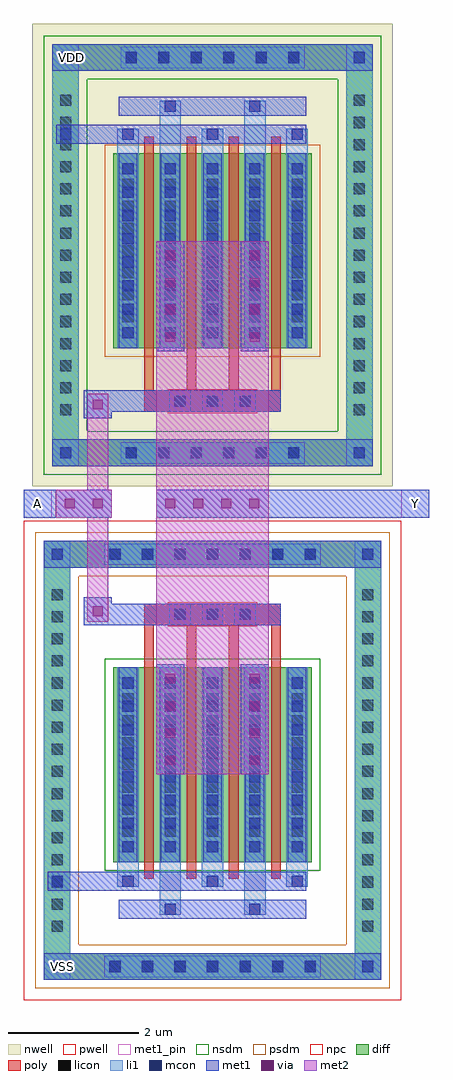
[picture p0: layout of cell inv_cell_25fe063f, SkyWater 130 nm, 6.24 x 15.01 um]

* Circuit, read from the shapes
.subckt inv_cell_25fe063f A VDD VSS Y
XM1 Y A VSS VSUBS sky130_fd_pr__nfet_01v8 w=3 l=0.15 m=4
XM2 Y A VDD n1 sky130_fd_pr__pfet_01v8 w=3 l=0.15 m=4
.ends

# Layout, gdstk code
import gdstk
lib = gdstk.Library(unit=1e-6, precision=5e-09)
def R(c, l, rs):  # rectangles x0, y0, x1, y1
    for r in rs: c.add(gdstk.rectangle(r[:2], r[2:], *l))
def A(c, l, x, y, w, h, nx, ny, dx, dy):  # array of equal rectangles
    R(c, l, [(x+i*dx, y+j*dy, x+i*dx+w, y+j*dy+h) for i in range(nx) for j in range(ny)])
def P(c, l, *ps):  # polygons
    for p in ps: c.add(gdstk.Polygon(p, *l))
nwell = (64, 20)
pwell = (64, 44)
diff = (65, 20)
poly = (66, 20)
licon = (66, 44)
li1 = (67, 20)
mcon = (67, 44)
met1_pin = (68, 16)
met1 = (68, 20)
via = (68, 44)
met2 = (69, 20)
nsdm = (93, 44)
psdm = (94, 20)
npc = (95, 20)

inv_cell_25fe063f = lib.new_cell('inv_cell_25fe063f')
R(inv_cell_25fe063f, nwell, [(-2.775,4.215,2.775,11.325)])
R(inv_cell_25fe063f, pwell, [(-2.905,-3.685,2.905,3.685)])
A(inv_cell_25fe063f, diff, -1.705, -3.375, 0.41, 0.41, 7, 2, 0.5, 6.34)
A(inv_cell_25fe063f, diff, -2.595, -2.755, 0.41, 0.41, 1, 16, 0, 0.34)
A(inv_cell_25fe063f, diff, 2.185, -2.755, 0.41, 0.41, 1, 16, 0, 0.34)
A(inv_cell_25fe063f, diff, -1.455, 4.525, 0.41, 0.41, 6, 2, 0.5, 6.08)
A(inv_cell_25fe063f, diff, -2.465, 5.185, 0.41, 0.41, 1, 15, 0, 0.34)
A(inv_cell_25fe063f, diff, 2.055, 5.185, 0.41, 0.41, 1, 15, 0, 0.34)
R(inv_cell_25fe063f, diff, [(-1.705,-3.375,1.705,-2.965), (-2.595,-2.755,-2.185,2.755), (2.185,-2.755,2.595,2.755), (-1.525,-1.57,1.525,1.43), (-1.705,2.965,1.705,3.375), (-1.455,4.525,1.455,4.935), (-2.465,5.185,-2.055,10.355), (2.055,5.185,2.465,10.355), (-1.525,6.34,1.525,9.34), (-1.455,10.605,1.455,11.015)])
P(inv_cell_25fe063f, diff, [(2.465,11.015),(-2.465,11.015),(-2.465,4.935),(-2.055,4.935),(-2.055,10.605),(2.055,10.605),(2.055,4.935),(-2.055,4.935),(-2.465,4.935),(-2.465,4.525),(2.465,4.525)],
  [(2.595,-3.375),(-2.595,-3.375),(-2.595,2.965),(-2.185,2.965),(-2.185,-2.965),(2.185,-2.965),(2.185,2.965),(-2.185,2.965),(-2.595,2.965),(-2.595,3.375),(2.595,3.375)])
A(inv_cell_25fe063f, poly, -1.05, -1.82, 0.15, 3.5, 4, 2, 0.65, 7.91)
A(inv_cell_25fe063f, poly, -1.05, 1.68, 0.15, 0.4, 4, 2, 0.65, 4.01)
A(inv_cell_25fe063f, poly, -0.665, 2.08, 0.33, 0.33, 3, 2, 0.5, 3.28)
R(inv_cell_25fe063f, poly, [(-1.05,2.08,1.05,2.41), (-1.05,5.36,1.05,5.69)])
A(inv_cell_25fe063f, licon, -1.585, -3.255, 0.17, 0.17, 7, 2, 0.5, 6.34)
A(inv_cell_25fe063f, licon, -2.475, -2.635, 0.17, 0.17, 1, 16, 0, 0.34)
A(inv_cell_25fe063f, licon, 2.305, -2.635, 0.17, 0.17, 1, 16, 0, 0.34)
A(inv_cell_25fe063f, licon, -1.385, -1.175, 0.17, 0.17, 5, 7, 0.65, 0.34)
A(inv_cell_25fe063f, licon, -0.585, 2.16, 0.17, 0.17, 3, 2, 0.5, 3.28)
A(inv_cell_25fe063f, licon, -1.335, 4.645, 0.17, 0.17, 6, 2, 0.5, 6.08)
A(inv_cell_25fe063f, licon, -2.345, 5.305, 0.17, 0.17, 1, 15, 0, 0.34)
A(inv_cell_25fe063f, licon, 2.175, 5.305, 0.17, 0.17, 1, 15, 0, 0.34)
A(inv_cell_25fe063f, licon, -1.385, 6.735, 0.17, 0.17, 5, 7, 0.65, 0.34)
A(inv_cell_25fe063f, li1, -1.665, -3.335, 0.33, 0.33, 7, 2, 0.5, 6.34)
A(inv_cell_25fe063f, li1, -2.555, -2.715, 0.33, 0.33, 1, 16, 0, 0.34)
A(inv_cell_25fe063f, li1, 2.225, -2.715, 0.33, 0.33, 1, 16, 0, 0.34)
A(inv_cell_25fe063f, li1, -1.465, -1.945, 0.33, 0.375, 3, 2, 1.3, 11.285)
A(inv_cell_25fe063f, li1, -1.385, -1.945, 0.17, 0.17, 3, 2, 1.3, 11.49)
A(inv_cell_25fe063f, li1, -1.465, -1.57, 0.33, 3, 5, 2, 0.65, 7.91)
A(inv_cell_25fe063f, li1, -1.385, -1.415, 0.17, 0.17, 5, 8, 0.65, 0.36)
A(inv_cell_25fe063f, li1, -1.385, -1.415, 0.17, 2.69, 5, 2, 0.65, 7.91)
A(inv_cell_25fe063f, li1, -1.465, -1.255, 0.33, 0.33, 5, 7, 0.65, 0.34)
A(inv_cell_25fe063f, li1, -0.665, 2.08, 0.33, 0.33, 3, 2, 0.5, 3.28)
A(inv_cell_25fe063f, li1, -1.415, 4.565, 0.33, 0.33, 6, 2, 0.5, 6.08)
A(inv_cell_25fe063f, li1, -2.425, 5.225, 0.33, 0.33, 1, 15, 0, 0.34)
A(inv_cell_25fe063f, li1, 2.095, 5.225, 0.33, 0.33, 1, 15, 0, 0.34)
A(inv_cell_25fe063f, li1, -1.385, 6.495, 0.17, 0.17, 5, 8, 0.65, 0.36)
A(inv_cell_25fe063f, li1, -1.465, 6.655, 0.33, 0.33, 5, 7, 0.65, 0.34)
R(inv_cell_25fe063f, li1, [(-2.595,-3.375,-2.185,-2.965), (2.185,-3.375,2.595,-2.965), (-1.665,-3.335,1.665,-3.005), (-2.475,-3.255,-2.305,-3.085), (-2.475,-3.255,-2.305,-3.085), (2.305,-3.255,2.475,-3.085), (2.305,-3.255,2.475,-3.085), (-2.595,-2.965,-2.185,2.965), (2.185,-2.965,2.595,2.965), (-0.815,-2.375,-0.485,-1.57), (-0.735,-2.375,-0.565,-2.205), (0.485,-2.375,0.815,-1.57), (0.565,-2.375,0.735,-2.205), (-2.475,-1.945,-2.305,-1.775), (-2.595,2.965,-2.185,3.375), (2.185,2.965,2.595,3.375), (-1.665,3.005,1.665,3.335), (-2.475,3.085,-2.305,3.255), (-2.475,3.085,-2.305,3.255), (2.305,3.085,2.475,3.255), (2.305,3.085,2.475,3.255), (-2.465,4.525,-2.055,4.935), (2.055,4.525,2.465,4.935), (-1.415,4.565,1.415,4.895), (-2.345,4.645,-2.175,4.815), (-2.345,4.645,-2.175,4.815), (2.175,4.645,2.345,4.815), (2.175,4.645,2.345,4.815), (-2.465,4.935,-2.055,10.605), (2.055,4.935,2.465,10.605), (-0.815,9.34,-0.485,10.145), (0.485,9.34,0.815,10.145), (-2.345,9.545,-2.175,9.715), (-0.735,9.975,-0.565,10.145), (0.565,9.975,0.735,10.145), (-2.465,10.605,-2.055,11.015), (2.055,10.605,2.465,11.015), (-1.415,10.645,1.415,10.975), (-2.345,10.725,-2.175,10.895), (-2.345,10.725,-2.175,10.895), (2.175,10.725,2.345,10.895), (2.175,10.725,2.345,10.895)])
A(inv_cell_25fe063f, mcon, -1.585, -3.255, 0.17, 0.17, 7, 2, 0.5, 6.34)
A(inv_cell_25fe063f, mcon, -1.385, -1.945, 0.17, 0.17, 3, 2, 1.3, 11.49)
A(inv_cell_25fe063f, mcon, -1.385, -1.415, 0.17, 0.17, 5, 8, 0.65, 0.36)
A(inv_cell_25fe063f, mcon, -0.585, 2.16, 0.17, 0.17, 3, 2, 0.5, 3.28)
A(inv_cell_25fe063f, mcon, -1.335, 4.645, 0.17, 0.17, 6, 2, 0.5, 6.08)
A(inv_cell_25fe063f, mcon, -1.385, 6.495, 0.17, 0.17, 5, 8, 0.65, 0.36)
R(inv_cell_25fe063f, mcon, [(-2.475,-3.255,-2.305,-3.085), (2.305,-3.255,2.475,-3.085), (-0.735,-2.375,-0.565,-2.205), (0.565,-2.375,0.735,-2.205), (-2.475,-1.945,-2.305,-1.775), (-2.475,3.085,-2.305,3.255), (2.305,3.085,2.475,3.255), (-2.345,4.645,-2.175,4.815), (2.175,4.645,2.345,4.815), (-2.345,9.545,-2.175,9.715), (-0.735,9.975,-0.565,10.145), (0.565,9.975,0.735,10.145), (-2.345,10.725,-2.175,10.895), (2.175,10.725,2.345,10.895)])
R(inv_cell_25fe063f, met1_pin, [(-2.425,-3.29,-2.185,-3.05), (-2.905,3.735,-2.475,4.165), (2.905,3.735,3.335,4.165), (-2.295,10.69,-2.055,10.93)])
A(inv_cell_25fe063f, met1, -1.645, -3.315, 0.29, 0.29, 7, 2, 0.5, 6.34)
A(inv_cell_25fe063f, met1, -1.445, -2.005, 0.29, 0.29, 3, 2, 1.3, 11.49)
A(inv_cell_25fe063f, met1, -1.445, -1.57, 0.29, 3, 5, 2, 0.65, 7.91)
A(inv_cell_25fe063f, met1, -1.445, -1.475, 0.29, 0.29, 5, 8, 0.65, 0.36)
A(inv_cell_25fe063f, met1, -0.645, 2.1, 0.29, 0.29, 3, 2, 0.5, 3.28)
A(inv_cell_25fe063f, met1, -1.395, 4.585, 0.29, 0.29, 6, 2, 0.5, 6.08)
A(inv_cell_25fe063f, met1, -1.445, 6.435, 0.29, 0.29, 5, 8, 0.65, 0.36)
R(inv_cell_25fe063f, met1, [(-2.595,-3.375,-2.185,-2.965), (-2.595,-3.375,-2.185,-2.965), (-2.185,-3.375,2.185,-2.965), (2.185,-3.375,2.595,-2.965), (2.185,-3.375,2.595,-2.965), (-2.535,-3.315,-2.245,-3.025), (2.245,-3.315,2.535,-3.025), (-1.445,-2.435,1.445,-2.145), (-0.795,-2.435,-0.505,-2.145), (0.505,-2.435,0.795,-2.145), (-2.535,-2.005,-2.245,-1.715), (-2.39,-2.005,-1.445,-1.715), (-1.445,-2.005,1.445,-1.715), (-0.865,-0.215,-0.435,0.215), (-0.865,-0.215,-0.435,0.215), (0.435,-0.215,0.865,0.215), (0.435,-0.215,0.865,0.215), (-0.865,0.205,-0.435,0.635), (-0.865,0.205,-0.435,0.635), (0.435,0.205,0.865,0.635), (0.435,0.205,0.865,0.635), (-0.865,0.625,-0.435,1.055), (-0.865,0.625,-0.435,1.055), (0.435,0.625,0.865,1.055), (0.435,0.625,0.865,1.055), (-0.865,1.045,-0.435,1.475), (-0.865,1.045,-0.435,1.475), (0.435,1.045,0.865,1.475), (0.435,1.045,0.865,1.475), (-1.98,2.08,-1.55,2.51), (-1.98,2.08,-1.05,2.41), (-1.05,2.08,1.05,2.41), (-2.595,2.965,-2.185,3.375), (-2.595,2.965,-2.185,3.375), (-2.185,2.965,2.185,3.375), (2.185,2.965,2.595,3.375), (2.185,2.965,2.595,3.375), (-2.535,3.025,-2.245,3.315), (2.245,3.025,2.535,3.315), (-2.905,3.735,-1.98,4.165), (-2.41,3.735,-1.98,4.165), (-2.41,3.735,-1.98,4.165), (-1.98,3.735,-1.55,4.165), (-1.98,3.735,-1.55,4.165), (-0.865,3.735,-0.435,4.165), (-0.865,3.735,-0.435,4.165), (-0.865,3.735,3.335,4.165), (-0.435,3.735,-0.005,4.165), (-0.435,3.735,-0.005,4.165), (-0.005,3.735,0.425,4.165), (-0.005,3.735,0.425,4.165), (0.425,3.735,0.855,4.165), (0.425,3.735,0.855,4.165), (-2.465,4.525,-2.055,4.935), (-2.465,4.525,-2.055,4.935), (-2.055,4.525,2.055,4.935), (2.055,4.525,2.465,4.935), (2.055,4.525,2.465,4.935), (-2.405,4.585,-2.115,4.875), (2.115,4.585,2.405,4.875), (-1.98,5.26,-1.55,5.69), (-1.98,5.36,-1.05,5.69), (-1.05,5.36,1.05,5.69), (-0.865,6.295,-0.435,6.725), (-0.865,6.295,-0.435,6.725), (0.435,6.295,0.865,6.725), (0.435,6.295,0.865,6.725), (-0.865,6.715,-0.435,7.145), (-0.865,6.715,-0.435,7.145), (0.435,6.715,0.865,7.145), (0.435,6.715,0.865,7.145), (-0.865,7.135,-0.435,7.565), (-0.865,7.135,-0.435,7.565), (0.435,7.135,0.865,7.565), (0.435,7.135,0.865,7.565), (-0.865,7.555,-0.435,7.985), (-0.865,7.555,-0.435,7.985), (0.435,7.555,0.865,7.985), (0.435,7.555,0.865,7.985), (-2.405,9.485,-2.115,9.775), (-2.26,9.485,-1.445,9.775), (-1.445,9.485,1.445,9.775), (-1.445,9.915,1.445,10.205), (-0.795,9.915,-0.505,10.205), (0.505,9.915,0.795,10.205), (-2.465,10.605,-2.055,11.015), (-2.465,10.605,-2.055,11.015), (-2.055,10.605,2.055,11.015), (2.055,10.605,2.465,11.015), (2.055,10.605,2.465,11.015), (-2.405,10.665,-2.115,10.955), (2.115,10.665,2.405,10.955)])
A(inv_cell_25fe063f, via, -0.725, -0.075, 0.15, 0.15, 1, 4, 0, 0.42)
A(inv_cell_25fe063f, via, 0.575, -0.075, 0.15, 0.15, 1, 4, 0, 0.42)
A(inv_cell_25fe063f, via, -0.725, 3.875, 0.15, 0.15, 4, 1, 0.43, 0)
A(inv_cell_25fe063f, via, -0.725, 6.435, 0.15, 0.15, 1, 4, 0, 0.42)
A(inv_cell_25fe063f, via, 0.575, 6.435, 0.15, 0.15, 1, 4, 0, 0.42)
R(inv_cell_25fe063f, via, [(-1.84,2.22,-1.69,2.37), (-2.27,3.875,-2.12,4.025), (-1.84,3.875,-1.69,4.025), (-1.84,5.4,-1.69,5.55)])
A(inv_cell_25fe063f, met2, -0.865, -0.215, 0.43, 0.43, 1, 4, 0, 0.42)
A(inv_cell_25fe063f, met2, 0.435, -0.215, 0.43, 0.43, 1, 4, 0, 0.42)
A(inv_cell_25fe063f, met2, -0.815, -0.165, 0.33, 0.33, 1, 4, 0, 0.42)
A(inv_cell_25fe063f, met2, 0.485, -0.165, 0.33, 0.33, 1, 4, 0, 0.42)
A(inv_cell_25fe063f, met2, -0.865, 3.735, 0.43, 0.43, 4, 1, 0.43, 0)
A(inv_cell_25fe063f, met2, -0.815, 3.785, 0.33, 0.33, 4, 1, 0.43, 0)
A(inv_cell_25fe063f, met2, -0.865, 6.295, 0.43, 0.43, 1, 4, 0, 0.42)
A(inv_cell_25fe063f, met2, 0.435, 6.295, 0.43, 0.43, 1, 4, 0, 0.42)
A(inv_cell_25fe063f, met2, -0.815, 6.345, 0.33, 0.33, 1, 4, 0, 0.42)
A(inv_cell_25fe063f, met2, 0.485, 6.345, 0.33, 0.33, 1, 4, 0, 0.42)
R(inv_cell_25fe063f, met2, [(-0.865,-0.215,0.865,7.985), (-1.93,2.13,-1.6,2.46), (-1.93,2.13,-1.6,5.64), (-2.41,3.735,-1.98,4.165), (-1.98,3.735,-1.55,4.165), (-2.36,3.785,-2.03,4.115), (-1.93,3.785,-1.6,4.115), (-1.93,5.31,-1.6,5.64)])
P(inv_cell_25fe063f, met2, [(-1.6,2.13),(-1.6,2.13),(-1.6,2.46),(-1.6,2.46)],
  [(-1.6,5.31),(-1.6,5.31),(-1.6,5.64),(-1.6,5.64)])
R(inv_cell_25fe063f, nsdm, [(-1.655,-1.7,1.655,1.56)])
P(inv_cell_25fe063f, nsdm, [(2.595,11.145),(-2.595,11.145),(-2.595,5.065),(-1.925,5.065),(-1.925,10.475),(1.925,10.475),(1.925,5.065),(-1.925,5.065),(-2.595,5.065),(-2.595,4.395),(2.595,4.395)])
R(inv_cell_25fe063f, psdm, [(-1.655,6.21,1.655,9.47)])
P(inv_cell_25fe063f, psdm, [(2.725,-3.505),(-2.725,-3.505),(-2.725,2.835),(-2.055,2.835),(-2.055,-2.835),(2.055,-2.835),(2.055,2.835),(-2.055,2.835),(-2.725,2.835),(-2.725,3.505),(2.725,3.505)])
A(inv_cell_25fe063f, npc, -0.685, 2.06, 0.37, 0.37, 3, 2, 0.5, 3.28)
R(inv_cell_25fe063f, npc, [(-0.685,2.06,0.185,2.43), (-0.685,2.06,0.185,2.43), (-0.185,2.06,0.685,2.43), (-0.185,2.06,0.685,2.43), (-0.685,5.34,0.185,5.71), (-0.685,5.34,0.185,5.71), (-0.185,5.34,0.685,5.71), (-0.185,5.34,0.685,5.71)])
inv_cell_25fe063f.add(gdstk.Label('Y', (3.12,3.95), layer=68, texttype=5))
inv_cell_25fe063f.add(gdstk.Label('A', (-2.69,3.95), layer=68, texttype=5))
inv_cell_25fe063f.add(gdstk.Label('VSS', (-2.305,-3.17), layer=68, texttype=5))
inv_cell_25fe063f.add(gdstk.Label('VDD', (-2.175,10.81), layer=68, texttype=5))

lib.write_gds('inv_cell_25fe063f.gds')
